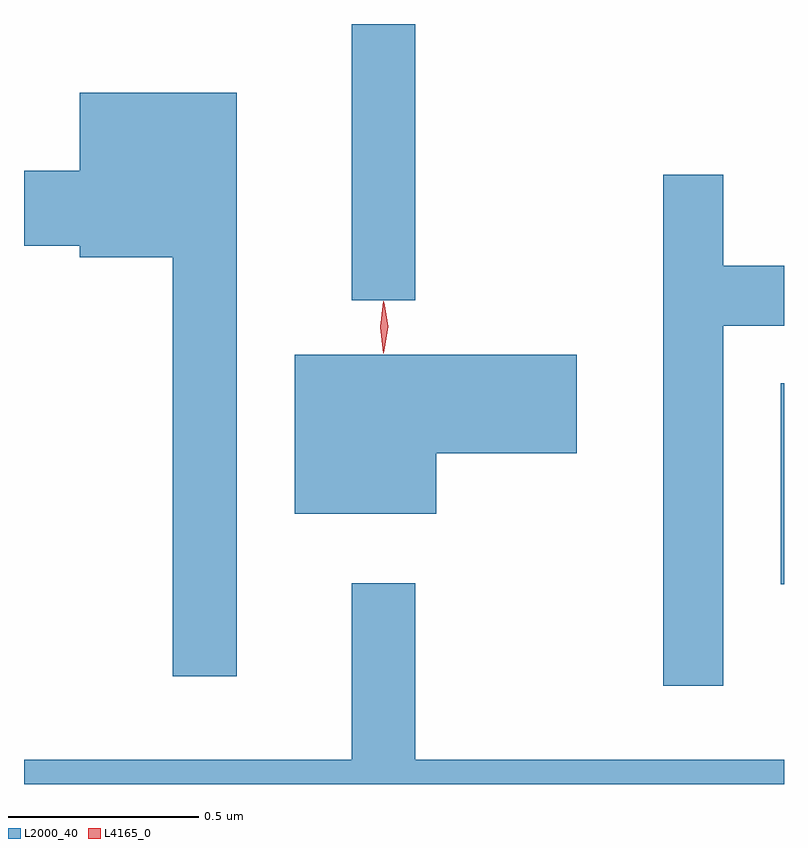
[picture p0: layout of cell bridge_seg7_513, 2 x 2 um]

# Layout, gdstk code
import gdstk
lib = gdstk.Library(unit=1e-6, precision=1e-09)
def R(c, l, rs):  # rectangles x0, y0, x1, y1
    for r in rs: c.add(gdstk.rectangle(r[:2], r[2:], *l))
def P(c, l, *ps):  # polygons
    for p in ps: c.add(gdstk.Polygon(p, *l))
L2000_40 = (2000, 40)
L4165_0 = (4165, 0)

bridge_seg7_513 = lib.new_cell('bridge_seg7_513')
R(bridge_seg7_513, L2000_40, [(1313.451,1681.746,1313.459,1682.274), (1312.321,1682.493,1312.489,1683.22)])
P(bridge_seg7_513, L2000_40, [(1312.019,1683.039),(1311.606,1683.039),(1311.606,1682.834),(1311.459,1682.834),(1311.459,1682.636),(1311.606,1682.636),(1311.606,1682.606),(1311.851,1682.606),(1311.851,1681.503),(1312.019,1681.503)],
  [(1313.299,1682.426),(1313.459,1682.426),(1313.459,1682.584),(1313.299,1682.584),(1313.299,1682.823),(1313.141,1682.823),(1313.141,1681.478),(1313.299,1681.478)],
  [(1312.544,1682.091),(1312.914,1682.091),(1312.914,1682.349),(1312.171,1682.349),(1312.171,1681.931),(1312.544,1681.931)],
  [(1313.459,1681.284),(1312.489,1681.284),(1312.489,1681.748),(1312.321,1681.748),(1312.321,1681.284),(1311.459,1681.284),(1311.459,1681.22),(1313.459,1681.22)])
P(bridge_seg7_513, L4165_0, [(1312.405,1682.354),(1312.396,1682.422),(1312.404,1682.49),(1312.405,1682.49),(1312.406,1682.49),(1312.415,1682.422),(1312.406,1682.354),(1312.406,1682.354)],
  [(1312.406,1682.36),(1312.397,1682.424),(1312.406,1682.486),(1312.407,1682.487),(1312.407,1682.486),(1312.417,1682.424),(1312.407,1682.36),(1312.407,1682.36)])

lib.write_gds('bridge_seg7_513.gds')
